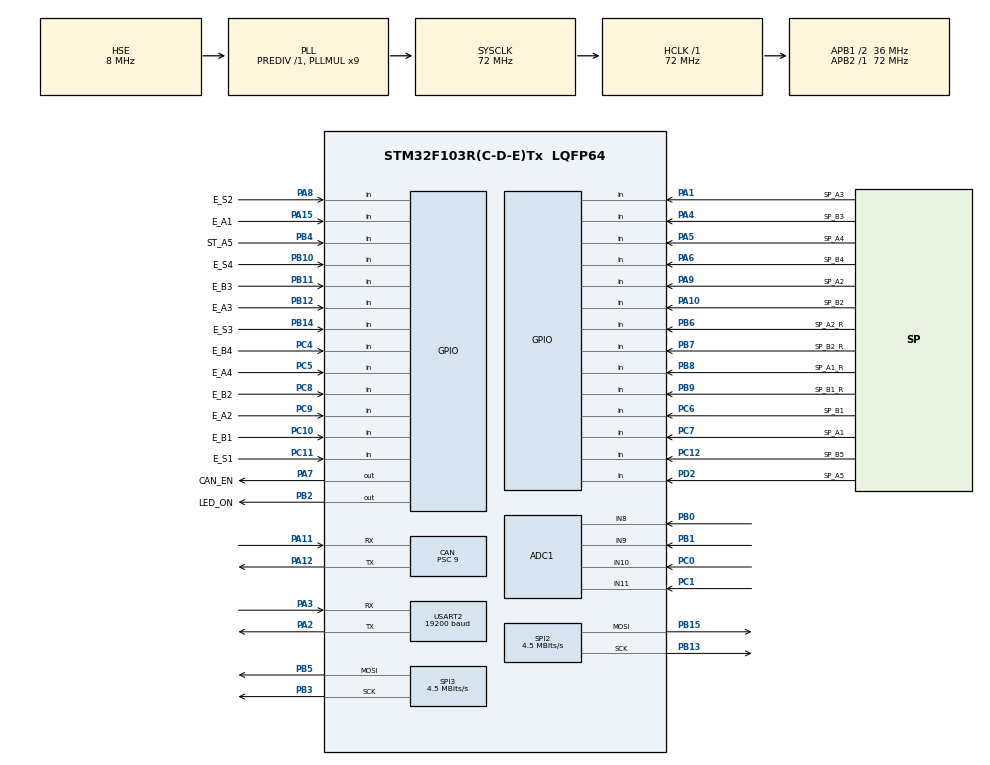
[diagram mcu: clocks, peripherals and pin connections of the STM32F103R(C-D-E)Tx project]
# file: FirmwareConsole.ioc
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ADC1.Channel-0\#ChannelRegularConversion=ADC_CHANNEL_8
ADC1.NbrOfConversionFlag=1
ADC1.Rank-0\#ChannelRegularConversion=1
ADC1.SamplingTime-0\#ChannelRegularConversion=ADC_SAMPLETIME_1CYCLE_5
ADC1.master=1
CAN.BS1=CAN_BS1_6TQ
CAN.CalculateBaudRate=500000
CAN.CalculateTimeBit=2000
CAN.CalculateTimeQuantum=250.0
CAN.Prescaler=9
Dma.Request0=SPI3_TX
Dma.Request1=SPI2_TX
Dma.SPI2_TX.1.Direction=DMA_MEMORY_TO_PERIPH
Dma.SPI2_TX.1.Instance=DMA1_Channel5
Dma.SPI2_TX.1.MemDataAlignment=DMA_MDATAALIGN_BYTE
Dma.SPI2_TX.1.MemInc=DMA_MINC_ENABLE
Dma.SPI2_TX.1.Mode=DMA_NORMAL
Dma.SPI2_TX.1.PeriphDataAlignment=DMA_PDATAALIGN_BYTE
Dma.SPI2_TX.1.PeriphInc=DMA_PINC_DISABLE
Dma.SPI2_TX.1.Priority=DMA_PRIORITY_LOW
Dma.SPI3_TX.0.Direction=DMA_MEMORY_TO_PERIPH
Dma.SPI3_TX.0.Instance=DMA2_Channel2
Dma.SPI3_TX.0.MemDataAlignment=DMA_MDATAALIGN_BYTE
Dma.SPI3_TX.0.MemInc=DMA_MINC_ENABLE
Dma.SPI3_TX.0.Mode=DMA_NORMAL
Dma.SPI3_TX.0.PeriphDataAlignment=DMA_PDATAALIGN_BYTE
Dma.SPI3_TX.0.PeriphInc=DMA_PINC_DISABLE
Dma.SPI3_TX.0.Priority=DMA_PRIORITY_LOW
Mcu.Family=STM32F1
Mcu.Name=STM32F103R(C-D-E)Tx
Mcu.Package=LQFP64
NVIC.ADC1_2_IRQn=true\:0\:0\:false\:false\:true\:true\:true\:true
NVIC.CAN1_RX1_IRQn=true\:0\:0\:false\:false\:true\:true\:true\:true
NVIC.DMA1_Channel5_IRQn=true\:0\:0\:false\:false\:true\:false\:true\:true
NVIC.DMA2_Channel2_IRQn=true\:0\:0\:false\:false\:true\:false\:true\:true
NVIC.PriorityGroup=NVIC_PRIORITYGROUP_4
NVIC.USART2_IRQn=true\:0\:0\:false\:false\:true\:true\:true\:true
PA1.GPIO_Label=SP_A3
PA1.Signal=GPIO_Input
PA10.GPIO_Label=SP_B2
PA10.Signal=GPIO_Input
PA11.Mode=CAN_Activate
PA11.Signal=CAN_RX
PA12.Mode=CAN_Activate
PA12.Signal=CAN_TX
PA13.Mode=Serial_Wire
PA13.Signal=SYS_JTMS-SWDIO
PA14.Mode=Serial_Wire
PA14.Signal=SYS_JTCK-SWCLK
PA15.GPIO_Label=E_A1
PA15.Signal=GPIO_Input
PA2.Mode=Asynchronous
PA2.Signal=USART2_TX
PA3.Mode=Asynchronous
PA3.Signal=USART2_RX
PA4.GPIO_Label=SP_B3
PA4.Signal=GPIO_Input
PA5.GPIO_Label=SP_A4
PA5.Signal=GPIO_Input
PA6.GPIO_Label=SP_B4
PA6.Signal=GPIO_Input
PA7.GPIO_Label=CAN_EN
PA7.Signal=GPIO_Output
PA8.GPIO_Label=E_S2
PA8.Signal=GPIO_Input
PA9.GPIO_Label=SP_A2
PA9.Signal=GPIO_Input
PB0.Signal=ADCx_IN8
PB1.Signal=ADCx_IN9
PB10.GPIO_Label=E_S4
PB10.Signal=GPIO_Input
PB11.GPIO_Label=E_B3
PB11.Signal=GPIO_Input
PB12.GPIO_Label=E_A3
PB12.Signal=GPIO_Input
PB13.Mode=TX_Only_Simplex_Unidirect_Master
PB13.Signal=SPI2_SCK
PB14.GPIO_Label=E_S3
PB14.Signal=GPIO_Input
PB15.Mode=TX_Only_Simplex_Unidirect_Master
PB15.Signal=SPI2_MOSI
PB2.GPIO_Label=LED_ON
PB2.Signal=GPIO_Output
PB3.Mode=TX_Only_Simplex_Unidirect_Master
PB3.Signal=SPI3_SCK
PB4.GPIO_Label=ST_A5
PB4.Signal=GPIO_Input
PB5.Mode=TX_Only_Simplex_Unidirect_Master
PB5.Signal=SPI3_MOSI
PB6.GPIO_Label=SP_A2_R
PB6.Signal=GPIO_Input
PB7.GPIO_Label=SP_B2_R
PB7.Signal=GPIO_Input
PB8.GPIO_Label=SP_A1_R
PB8.Signal=GPIO_Input
PB9.GPIO_Label=SP_B1_R
PB9.Signal=GPIO_Input
PC0.Signal=ADCx_IN10
PC1.Signal=ADCx_IN11
PC10.GPIO_Label=E_B1
PC10.Signal=GPIO_Input
PC11.GPIO_Label=E_S1
PC11.Signal=GPIO_Input
PC12.GPIO_Label=SP_B5
PC12.Signal=GPIO_Input
PC4.GPIO_Label=E_B4
PC4.Signal=GPIO_Input
PC5.GPIO_Label=E_A4
PC5.Signal=GPIO_Input
PC6.GPIO_Label=SP_B1
PC6.Signal=GPIO_Input
PC7.GPIO_Label=SP_A1
PC7.Signal=GPIO_Input
PC8.GPIO_Label=E_B2
PC8.Signal=GPIO_Input
PC9.GPIO_Label=E_A2
PC9.Signal=GPIO_Input
PD0-OSC_IN.Mode=HSE-External-Oscillator
PD0-OSC_IN.Signal=RCC_OSC_IN
PD1-OSC_OUT.Mode=HSE-External-Oscillator
PD1-OSC_OUT.Signal=RCC_OSC_OUT
PD2.GPIO_Label=SP_A5
PD2.Signal=GPIO_Input
ProjectManager.HeapSize=0x200
ProjectManager.StackSize=0x400
ProjectManager.TargetToolchain=MDK-ARM V5
RCC.ADCPresc=RCC_ADCPCLK2_DIV6
RCC.AHBFreq_Value=72000000
RCC.APB1CLKDivider=RCC_HCLK_DIV2
RCC.APB1Freq_Value=36000000
RCC.APB1TimFreq_Value=72000000
RCC.APB2Freq_Value=72000000
RCC.APB2TimFreq_Value=72000000
RCC.HCLKFreq_Value=72000000
RCC.PLLMUL=RCC_PLL_MUL9
RCC.PLLSourceVirtual=RCC_PLLSOURCE_HSE
RCC.SYSCLKFreq_VALUE=72000000
RCC.SYSCLKSource=RCC_SYSCLKSOURCE_PLLCLK
RCC.USBFreq_Value=72000000
SH.ADCx_IN10.0=ADC1_IN10,IN10
SH.ADCx_IN11.0=ADC1_IN11,IN11
SH.ADCx_IN8.0=ADC1_IN8,IN8
SH.ADCx_IN9.0=ADC1_IN9,IN9
SPI2.BaudRatePrescaler=SPI_BAUDRATEPRESCALER_8
SPI2.CalculateBaudRate=4.5 MBits/s
SPI2.Direction=SPI_DIRECTION_2LINES
SPI2.Mode=SPI_MODE_MASTER
SPI2.VirtualType=VM_MASTER
SPI3.BaudRatePrescaler=SPI_BAUDRATEPRESCALER_8
SPI3.CRCCalculation=SPI_CRCCALCULATION_DISABLE
SPI3.CalculateBaudRate=4.5 MBits/s
SPI3.Direction=SPI_DIRECTION_2LINES
SPI3.Mode=SPI_MODE_MASTER
SPI3.VirtualType=VM_MASTER
TIM1.Channel-PWM\ Generation1\ CH1N=TIM_CHANNEL_1
TIM1.Period=10000-1
TIM1.Prescaler=40-1
TIM2.Channel-PWM\ Generation1\ CH1=TIM_CHANNEL_1
USART2.BaudRate=19200
USART2.VirtualMode=VM_ASYNC
VP_TIM1_VS_ClockSourceINT.Mode=Internal
VP_TIM2_VS_ClockSourceINT.Mode=Internal
VP_TIM3_VS_ClockSourceINT.Mode=Internal
board=custom

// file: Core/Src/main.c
/* USER CODE BEGIN Header */
/**
  ******************************************************************************
  * @file           : main.c
  * @brief          : Main program body
  ******************************************************************************
  * @attention
  *
  * Copyright (c) 2023 STMicroelectronics.
  * All rights reserved.
  *
  * This software is licensed under terms that can be found in the LICENSE file
  * in the root directory of this software component.
  * If no LICENSE file comes with this software, it is provided AS-IS.
  *
  ******************************************************************************
  */
/* USER CODE END Header */
#include "main.h"

/* USER CODE BEGIN Includes */
#include <stdio.h>
#include <string.h>
#include "system.h"
#include "joystick.h"
#include "can.h"
#include "uart.h"
#if defined(RTT_SEGGER_DEBUGER)
#include "SEGGER_RTT.h"
#endif
/* USER CODE END Includes */

/* USER CODE BEGIN PTD */

uint8_t APP_Version[2] = { MAJOR, MINOR };
/* USER CODE END PTD */

ADC_HandleTypeDef hadc1;

CAN_HandleTypeDef hcan;

SPI_HandleTypeDef hspi2;
SPI_HandleTypeDef hspi3;
DMA_HandleTypeDef hdma_spi2_tx;
DMA_HandleTypeDef hdma_spi3_tx;

TIM_HandleTypeDef htim1;
TIM_HandleTypeDef htim2;
TIM_HandleTypeDef htim3;

UART_HandleTypeDef huart2;

/* USER CODE BEGIN PV */
extern uint32_t adcCounter;
extern uint32_t	ADC_raw;
/* USER CODE END PV */

void SystemClock_Config(void);
static void MX_GPIO_Init(void);
static void MX_DMA_Init(void);
static void MX_USART2_UART_Init(void);
static void MX_TIM1_Init(void);
static void MX_TIM2_Init(void);
static void MX_SPI3_Init(void);
static void MX_SPI2_Init(void);
static void MX_TIM3_Init(void);
static void MX_ADC1_Init(void);
static void MX_CAN_Init(void);
/* USER CODE BEGIN PFP */

void HAL_UART_RxCpltCallback(UART_HandleTypeDef *huart) {

	UartRxCallback(huart);
}

/* USER CODE END PFP */

int main(void)
{

  /* MCU Configuration--------------------------------------------------------*/

  /* Reset of all peripherals, Initializes the Flash interface and the Systick. */
  HAL_Init();

  /* Configure the system clock */
  SystemClock_Config();

  /* USER CODE BEGIN SysInit */
	sprintf((char*)tx_buffer, "\r\nConsoleFirmware version %d.%d\r\n", APP_Version[0], APP_Version[1]);
#if defined(RTT_SEGGER_DEBUGER)
 SEGGER_RTT_ConfigUpBuffer(0, NULL, NULL, 0, SEGGER_RTT_MODE_BLOCK_IF_FIFO_FULL);
 SEGGER_RTT_WriteString(0, tx_buffer);
#endif
  /* USER CODE END SysInit */

  /* Initialize all configured peripherals */
  MX_GPIO_Init();
  MX_DMA_Init();
  MX_USART2_UART_Init();
  MX_TIM1_Init();
  MX_TIM2_Init();
  MX_SPI3_Init();
  MX_SPI2_Init();
  MX_TIM3_Init();
  MX_ADC1_Init();
  MX_CAN_Init();
  /* USER CODE BEGIN 2 */

	initApp();

	HAL_GPIO_WritePin(CAN_EN_GPIO_Port, CAN_EN_Pin, GPIO_PIN_SET);
	HAL_GPIO_WritePin(CAN_EN_GPIO_Port, CAN_EN_Pin, GPIO_PIN_RESET);
	//Activate the notification
	HAL_CAN_Start(&hcan);
	HAL_CAN_ActivateNotification(&hcan, CAN_IT_RX_FIFO1_MSG_PENDING);

  /* USER CODE END 2 */

  /* Infinite loop */
  /* USER CODE BEGIN WHILE */
	UartInit();
  while (1)
  {
    /* USER CODE END WHILE */

    /* USER CODE BEGIN 3 */
		//appHandler();
		kbTest();
  }
  /* USER CODE END 3 */
}

void SystemClock_Config(void)
{
  RCC_OscInitTypeDef RCC_OscInitStruct = {0};
  RCC_ClkInitTypeDef RCC_ClkInitStruct = {0};
  RCC_PeriphCLKInitTypeDef PeriphClkInit = {0};

  /** Initializes the RCC Oscillators according to the specified parameters
  * in the RCC_OscInitTypeDef structure.
  */
  RCC_OscInitStruct.OscillatorType = RCC_OSCILLATORTYPE_HSE;
  RCC_OscInitStruct.HSEState = RCC_HSE_ON;
  RCC_OscInitStruct.HSEPredivValue = RCC_HSE_PREDIV_DIV1;
  RCC_OscInitStruct.HSIState = RCC_HSI_ON;
  RCC_OscInitStruct.PLL.PLLState = RCC_PLL_ON;
  RCC_OscInitStruct.PLL.PLLSource = RCC_PLLSOURCE_HSE;
  RCC_OscInitStruct.PLL.PLLMUL = RCC_PLL_MUL9;
  if (HAL_RCC_OscConfig(&RCC_OscInitStruct) != HAL_OK)
  {
    Error_Handler();
  }

  /** Initializes the CPU, AHB and APB buses clocks
  */
  RCC_ClkInitStruct.ClockType = RCC_CLOCKTYPE_HCLK|RCC_CLOCKTYPE_SYSCLK
                              |RCC_CLOCKTYPE_PCLK1|RCC_CLOCKTYPE_PCLK2;
  RCC_ClkInitStruct.SYSCLKSource = RCC_SYSCLKSOURCE_PLLCLK;
  RCC_ClkInitStruct.AHBCLKDivider = RCC_SYSCLK_DIV1;
  RCC_ClkInitStruct.APB1CLKDivider = RCC_HCLK_DIV2;
  RCC_ClkInitStruct.APB2CLKDivider = RCC_HCLK_DIV1;

  if (HAL_RCC_ClockConfig(&RCC_ClkInitStruct, FLASH_LATENCY_2) != HAL_OK)
  {
    Error_Handler();
  }
  PeriphClkInit.PeriphClockSelection = RCC_PERIPHCLK_ADC;
  PeriphClkInit.AdcClockSelection = RCC_ADCPCLK2_DIV6;
  if (HAL_RCCEx_PeriphCLKConfig(&PeriphClkInit) != HAL_OK)
  {
    Error_Handler();
  }
}

static void MX_ADC1_Init(void)
{

  ADC_ChannelConfTypeDef sConfig = {0};

  /** Common config
  */
  hadc1.Instance = ADC1;
  hadc1.Init.ScanConvMode = ADC_SCAN_DISABLE;
  hadc1.Init.ContinuousConvMode = DISABLE;
  hadc1.Init.DiscontinuousConvMode = DISABLE;
  hadc1.Init.ExternalTrigConv = ADC_SOFTWARE_START;
  hadc1.Init.DataAlign = ADC_DATAALIGN_RIGHT;
  hadc1.Init.NbrOfConversion = 1;
  if (HAL_ADC_Init(&hadc1) != HAL_OK)
  {
    Error_Handler();
  }

  /** Configure Regular Channel
  */
  sConfig.Channel = ADC_CHANNEL_8;
  sConfig.Rank = ADC_REGULAR_RANK_1;
  sConfig.SamplingTime = ADC_SAMPLETIME_1CYCLE_5;
  if (HAL_ADC_ConfigChannel(&hadc1, &sConfig) != HAL_OK)
  {
    Error_Handler();
  }

}

static void MX_CAN_Init(void)
{

  hcan.Instance = CAN1;
  hcan.Init.Prescaler = 9;
  hcan.Init.Mode = CAN_MODE_NORMAL;
  hcan.Init.SyncJumpWidth = CAN_SJW_1TQ;
  hcan.Init.TimeSeg1 = CAN_BS1_6TQ;
  hcan.Init.TimeSeg2 = CAN_BS2_1TQ;
  hcan.Init.TimeTriggeredMode = DISABLE;
  hcan.Init.AutoBusOff = DISABLE;
  hcan.Init.AutoWakeUp = DISABLE;
  hcan.Init.AutoRetransmission = DISABLE;
  hcan.Init.ReceiveFifoLocked = DISABLE;
  hcan.Init.TransmitFifoPriority = DISABLE;
  if (HAL_CAN_Init(&hcan) != HAL_OK)
  {
    Error_Handler();
  }
  /* USER CODE BEGIN CAN_Init 2 */

	canInit();
  /* USER CODE END CAN_Init 2 */

}

static void MX_SPI2_Init(void)
{

  /* SPI2 parameter configuration*/
  hspi2.Instance = SPI2;
  hspi2.Init.Mode = SPI_MODE_MASTER;
  hspi2.Init.Direction = SPI_DIRECTION_2LINES;
  hspi2.Init.DataSize = SPI_DATASIZE_8BIT;
  hspi2.Init.CLKPolarity = SPI_POLARITY_LOW;
  hspi2.Init.CLKPhase = SPI_PHASE_1EDGE;
  hspi2.Init.NSS = SPI_NSS_SOFT;
  hspi2.Init.BaudRatePrescaler = SPI_BAUDRATEPRESCALER_8;
  hspi2.Init.FirstBit = SPI_FIRSTBIT_MSB;
  hspi2.Init.TIMode = SPI_TIMODE_DISABLE;
  hspi2.Init.CRCCalculation = SPI_CRCCALCULATION_DISABLE;
  hspi2.Init.CRCPolynomial = 10;
  if (HAL_SPI_Init(&hspi2) != HAL_OK)
  {
    Error_Handler();
  }

}

static void MX_SPI3_Init(void)
{

  /* SPI3 parameter configuration*/
  hspi3.Instance = SPI3;
  hspi3.Init.Mode = SPI_MODE_MASTER;
  hspi3.Init.Direction = SPI_DIRECTION_2LINES;
  hspi3.Init.DataSize = SPI_DATASIZE_8BIT;
  hspi3.Init.CLKPolarity = SPI_POLARITY_LOW;
  hspi3.Init.CLKPhase = SPI_PHASE_1EDGE;
  hspi3.Init.NSS = SPI_NSS_SOFT;
  hspi3.Init.BaudRatePrescaler = SPI_BAUDRATEPRESCALER_8;
  hspi3.Init.FirstBit = SPI_FIRSTBIT_MSB;
  hspi3.Init.TIMode = SPI_TIMODE_DISABLE;
  hspi3.Init.CRCCalculation = SPI_CRCCALCULATION_DISABLE;
  hspi3.Init.CRCPolynomial = 10;
  if (HAL_SPI_Init(&hspi3) != HAL_OK)
  {
    Error_Handler();
  }

}

static void MX_TIM1_Init(void)
{

  TIM_ClockConfigTypeDef sClockSourceConfig = {0};
  TIM_MasterConfigTypeDef sMasterConfig = {0};

  htim1.Instance = TIM1;
  htim1.Init.Prescaler = 40-1;
  htim1.Init.CounterMode = TIM_COUNTERMODE_UP;
  htim1.Init.Period = 10000-1;
  htim1.Init.ClockDivision = TIM_CLOCKDIVISION_DIV1;
  htim1.Init.RepetitionCounter = 0;
  htim1.Init.AutoReloadPreload = TIM_AUTORELOAD_PRELOAD_DISABLE;
  if (HAL_TIM_Base_Init(&htim1) != HAL_OK)
  {
    Error_Handler();
  }
  sClockSourceConfig.ClockSource = TIM_CLOCKSOURCE_INTERNAL;
  if (HAL_TIM_ConfigClockSource(&htim1, &sClockSourceConfig) != HAL_OK)
  {
    Error_Handler();
  }
  sMasterConfig.MasterOutputTrigger = TIM_TRGO_RESET;
  sMasterConfig.MasterSlaveMode = TIM_MASTERSLAVEMODE_DISABLE;
  if (HAL_TIMEx_MasterConfigSynchronization(&htim1, &sMasterConfig) != HAL_OK)
  {
    Error_Handler();
  }

}

static void MX_TIM2_Init(void)
{

  TIM_ClockConfigTypeDef sClockSourceConfig = {0};
  TIM_MasterConfigTypeDef sMasterConfig = {0};

  htim2.Instance = TIM2;
  htim2.Init.Prescaler = 0;
  htim2.Init.CounterMode = TIM_COUNTERMODE_UP;
  htim2.Init.Period = 65535;
  htim2.Init.ClockDivision = TIM_CLOCKDIVISION_DIV1;
  htim2.Init.AutoReloadPreload = TIM_AUTORELOAD_PRELOAD_DISABLE;
  if (HAL_TIM_Base_Init(&htim2) != HAL_OK)
  {
    Error_Handler();
  }
  sClockSourceConfig.ClockSource = TIM_CLOCKSOURCE_INTERNAL;
  if (HAL_TIM_ConfigClockSource(&htim2, &sClockSourceConfig) != HAL_OK)
  {
    Error_Handler();
  }
  sMasterConfig.MasterOutputTrigger = TIM_TRGO_RESET;
  sMasterConfig.MasterSlaveMode = TIM_MASTERSLAVEMODE_DISABLE;
  if (HAL_TIMEx_MasterConfigSynchronization(&htim2, &sMasterConfig) != HAL_OK)
  {
    Error_Handler();
  }

}

static void MX_TIM3_Init(void)
{

  TIM_ClockConfigTypeDef sClockSourceConfig = {0};
  TIM_MasterConfigTypeDef sMasterConfig = {0};

  htim3.Instance = TIM3;
  htim3.Init.Prescaler = 0;
  htim3.Init.CounterMode = TIM_COUNTERMODE_UP;
  htim3.Init.Period = 65535;
  htim3.Init.ClockDivision = TIM_CLOCKDIVISION_DIV1;
  htim3.Init.AutoReloadPreload = TIM_AUTORELOAD_PRELOAD_DISABLE;
  if (HAL_TIM_Base_Init(&htim3) != HAL_OK)
  {
    Error_Handler();
  }
  sClockSourceConfig.ClockSource = TIM_CLOCKSOURCE_INTERNAL;
  if (HAL_TIM_ConfigClockSource(&htim3, &sClockSourceConfig) != HAL_OK)
  {
    Error_Handler();
  }
  sMasterConfig.MasterOutputTrigger = TIM_TRGO_RESET;
  sMasterConfig.MasterSlaveMode = TIM_MASTERSLAVEMODE_DISABLE;
  if (HAL_TIMEx_MasterConfigSynchronization(&htim3, &sMasterConfig) != HAL_OK)
  {
    Error_Handler();
  }

}

static void MX_USART2_UART_Init(void)
{

  huart2.Instance = USART2;
  huart2.Init.BaudRate = 19200;
  huart2.Init.WordLength = UART_WORDLENGTH_8B;
  huart2.Init.StopBits = UART_STOPBITS_1;
  huart2.Init.Parity = UART_PARITY_NONE;
  huart2.Init.Mode = UART_MODE_TX_RX;
  huart2.Init.HwFlowCtl = UART_HWCONTROL_NONE;
  huart2.Init.OverSampling = UART_OVERSAMPLING_16;
  if (HAL_UART_Init(&huart2) != HAL_OK)
  {
    Error_Handler();
  }

}

static void MX_DMA_Init(void)
{

  /* DMA controller clock enable */
  __HAL_RCC_DMA2_CLK_ENABLE();
  __HAL_RCC_DMA1_CLK_ENABLE();

  /* DMA interrupt init */
  /* DMA1_Channel5_IRQn interrupt configuration */
  HAL_NVIC_SetPriority(DMA1_Channel5_IRQn, 0, 0);
  HAL_NVIC_EnableIRQ(DMA1_Channel5_IRQn);
  /* DMA2_Channel2_IRQn interrupt configuration */
  HAL_NVIC_SetPriority(DMA2_Channel2_IRQn, 0, 0);
  HAL_NVIC_EnableIRQ(DMA2_Channel2_IRQn);

}

static void MX_GPIO_Init(void)
{
  GPIO_InitTypeDef GPIO_InitStruct = {0};

  /* GPIO Ports Clock Enable */
  __HAL_RCC_GPIOD_CLK_ENABLE();
  __HAL_RCC_GPIOC_CLK_ENABLE();
  __HAL_RCC_GPIOA_CLK_ENABLE();
  __HAL_RCC_GPIOB_CLK_ENABLE();

  /*Configure GPIO pin Output Level */
  HAL_GPIO_WritePin(CAN_EN_GPIO_Port, CAN_EN_Pin, GPIO_PIN_RESET);

  /*Configure GPIO pin Output Level */
  HAL_GPIO_WritePin(LED_ON_GPIO_Port, LED_ON_Pin, GPIO_PIN_RESET);

  /*Configure GPIO pins : SP_A3_Pin SP_B3_Pin SP_A4_Pin SP_B4_Pin
                           E_S2_Pin SP_A2_Pin SP_B2_Pin E_A1_Pin */
  GPIO_InitStruct.Pin = SP_A3_Pin|SP_B3_Pin|SP_A4_Pin|SP_B4_Pin
                          |E_S2_Pin|SP_A2_Pin|SP_B2_Pin|E_A1_Pin;
  GPIO_InitStruct.Mode = GPIO_MODE_INPUT;
  GPIO_InitStruct.Pull = GPIO_NOPULL;
  HAL_GPIO_Init(GPIOA, &GPIO_InitStruct);

  /*Configure GPIO pin : CAN_EN_Pin */
  GPIO_InitStruct.Pin = CAN_EN_Pin;
  GPIO_InitStruct.Mode = GPIO_MODE_OUTPUT_PP;
  GPIO_InitStruct.Pull = GPIO_NOPULL;
  GPIO_InitStruct.Speed = GPIO_SPEED_FREQ_LOW;
  HAL_GPIO_Init(CAN_EN_GPIO_Port, &GPIO_InitStruct);

  /*Configure GPIO pins : E_B4_Pin E_A4_Pin SP_B1_Pin SP_A1_Pin
                           E_B2_Pin E_A2_Pin E_B1_Pin E_S1_Pin
                           SP_B5_Pin */
  GPIO_InitStruct.Pin = E_B4_Pin|E_A4_Pin|SP_B1_Pin|SP_A1_Pin
                          |E_B2_Pin|E_A2_Pin|E_B1_Pin|E_S1_Pin
                          |SP_B5_Pin;
  GPIO_InitStruct.Mode = GPIO_MODE_INPUT;
  GPIO_InitStruct.Pull = GPIO_NOPULL;
  HAL_GPIO_Init(GPIOC, &GPIO_InitStruct);

  /*Configure GPIO pin : LED_ON_Pin */
  GPIO_InitStruct.Pin = LED_ON_Pin;
  GPIO_InitStruct.Mode = GPIO_MODE_OUTPUT_PP;
  GPIO_InitStruct.Pull = GPIO_NOPULL;
  GPIO_InitStruct.Speed = GPIO_SPEED_FREQ_LOW;
  HAL_GPIO_Init(LED_ON_GPIO_Port, &GPIO_InitStruct);

  /*Configure GPIO pins : E_S4_Pin E_B3_Pin E_A3_Pin E_S3_Pin
                           ST_A5_Pin SP_A2_R_Pin SP_B2_R_Pin SP_A1_R_Pin
                           SP_B1_R_Pin */
  GPIO_InitStruct.Pin = E_S4_Pin|E_B3_Pin|E_A3_Pin|E_S3_Pin
                          |ST_A5_Pin|SP_A2_R_Pin|SP_B2_R_Pin|SP_A1_R_Pin
                          |SP_B1_R_Pin;
  GPIO_InitStruct.Mode = GPIO_MODE_INPUT;
  GPIO_InitStruct.Pull = GPIO_NOPULL;
  HAL_GPIO_Init(GPIOB, &GPIO_InitStruct);

  /*Configure GPIO pin : SP_A5_Pin */
  GPIO_InitStruct.Pin = SP_A5_Pin;
  GPIO_InitStruct.Mode = GPIO_MODE_INPUT;
  GPIO_InitStruct.Pull = GPIO_NOPULL;
  HAL_GPIO_Init(SP_A5_GPIO_Port, &GPIO_InitStruct);

}

/* USER CODE BEGIN 4 */
void HAL_ADC_ConvCpltCallback(ADC_HandleTypeDef* hadc)
{
	uint32_t adval;
  if (__HAL_ADC_GET_FLAG(hadc, ADC_FLAG_EOC))
    {
			adval = HAL_ADC_GetValue(hadc);
			readAdcCallback(adval);
    }
}
/* USER CODE END 4 */

void Error_Handler(void)
{
  __disable_irq();
  while (1)
  {
  }
}
